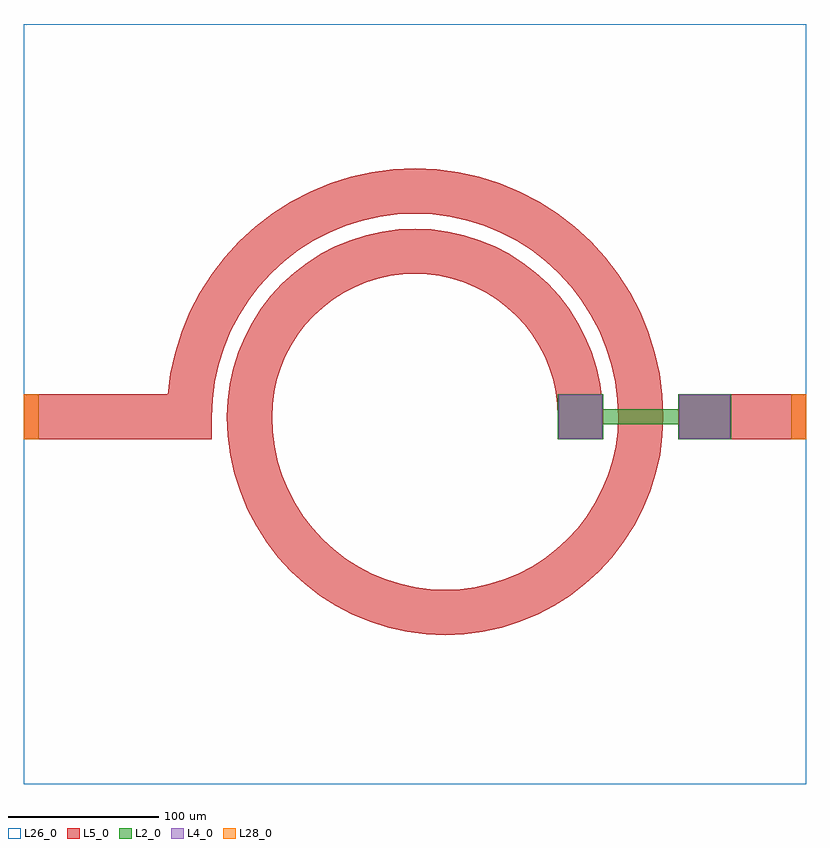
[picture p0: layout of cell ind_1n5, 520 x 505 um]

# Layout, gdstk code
import gdstk
lib = gdstk.Library(unit=1e-6, precision=5e-10)
def R(c, l, rs):  # rectangles x0, y0, x1, y1
    for r in rs: c.add(gdstk.rectangle(r[:2], r[2:], *l))
def P(c, l, *ps):  # polygons
    for p in ps: c.add(gdstk.Polygon(p, *l))
L2_0 = (2, 0)
L4_0 = (4, 0)
L5_0 = (5, 0)
L26_0 = (26, 0)
L28_0 = (28, 0)

ind_1n5 = lib.new_cell('ind_1n5')
R(ind_1n5, L2_0, [(260,-15,290,15), (340,-15,375,15), (260,-5,375,5)])
R(ind_1n5, L4_0, [(260.5,-14.5,289.5,14.5), (340.5,-14.5,374.5,14.5)])
R(ind_1n5, L5_0, [(-95,-15,-80,15), (-95,-15,30,15), (260,-15,290,15), (340,-15,425,15), (410,-15,425,15)])
P(ind_1n5, L5_0, [(300,0),(330,0),(329.448,-12.6375),(327.797,-25.179),(325.059,-37.529),(321.2555,-49.593),(316.4145,-61.2795),(310.5735,-72.5),(303.777,-83.1685),(296.0765,-93.204),(287.5305,-102.5305),(278.204,-111.0765),(268.1685,-118.777),(257.5,-125.5735),(246.2795,-131.4145),(234.593,-136.2555),(222.529,-140.059),(210.179,-142.797),(197.6375,-144.448),(185,-145),(172.3625,-144.448),(159.821,-142.797),(147.471,-140.059),(135.407,-136.2555),(123.7205,-131.4145),(112.5,-125.5735),(101.8315,-118.777),(91.796,-111.0765),(82.4695,-102.5305),(73.9235,-93.204),(66.223,-83.1685),(59.4265,-72.5),(53.5855,-61.2795),(48.7445,-49.593),(44.941,-37.529),(42.203,-25.179),(40.552,-12.6375),(40,0),(70,0),(70.4375,-10.023),(71.747,-19.9695),(73.9185,-29.764),(76.9355,-39.3325),(80.7745,-48.601),(85.407,-57.5),(90.7975,-65.9615),(96.905,-73.9205),(103.6825,-81.3175),(111.0795,-88.095),(119.0385,-94.2025),(127.5,-99.593),(136.399,-104.2255),(145.6675,-108.0645),(155.236,-111.0815),(165.0305,-113.253),(174.977,-114.5625),(185,-115),(195.023,-114.5625),(204.9695,-113.253),(214.764,-111.0815),(224.3325,-108.0645),(233.601,-104.2255),(242.5,-99.593),(250.9615,-94.2025),(258.9205,-88.095),(266.3175,-81.3175),(273.095,-73.9205),(279.2025,-65.9615),(284.593,-57.5),(289.2255,-48.601),(293.0645,-39.3325),(296.0815,-29.764),(298.253,-19.9695),(299.5625,-10.023)],
  [(300,0),(330,0),(329.372,14.3805),(327.4935,28.652),(324.378,42.705),(320.0495,56.4335),(314.541,69.732),(307.894,82.5),(300.16,94.64),(291.3975,106.06),(281.6725,116.6725),(271.06,126.3975),(259.64,135.16),(247.5,142.894),(234.732,149.541),(221.4335,155.0495),(207.705,159.378),(193.652,162.4935),(179.3805,164.372),(165,165),(150.6195,164.372),(136.348,162.4935),(122.295,159.378),(108.5665,155.0495),(95.268,149.541),(82.5,142.894),(70.36,135.16),(58.94,126.3975),(48.3275,116.6725),(38.6025,106.06),(29.84,94.64),(22.106,82.5),(15.459,69.732),(9.9505,56.4335),(5.622,42.705),(2.5065,28.652),(0.628,14.3805),(0,0),(30,0),(30.5135,11.766),(32.051,23.4425),(34.6,34.9405),(38.1415,46.1725),(42.6485,57.0535),(48.0865,67.5),(54.4145,77.433),(61.584,86.7765),(69.5405,95.4595),(78.2235,103.416),(87.567,110.5855),(97.5,116.9135),(107.9465,122.3515),(118.8275,126.8585),(130.0595,130.4),(141.5575,132.949),(153.234,134.4865),(165,135),(176.766,134.4865),(188.4425,132.949),(199.9405,130.4),(211.1725,126.8585),(222.0535,122.3515),(232.5,116.9135),(242.433,110.5855),(251.7765,103.416),(260.4595,95.4595),(268.416,86.7765),(275.5855,77.433),(281.9135,67.5),(287.3515,57.0535),(291.8585,46.1725),(295.4,34.9405),(297.949,23.4425),(299.4865,11.766)],
  [(260,0),(290,0),(289.5245,10.8945),(288.101,21.706),(285.7405,32.3525),(282.4615,42.7525),(278.2885,52.8275),(273.253,62.5),(267.394,71.697),(260.7555,80.3485),(253.3885,88.3885),(245.3485,95.7555),(236.697,102.394),(227.5,108.253),(217.8275,113.2885),(207.7525,117.4615),(197.3525,120.7405),(186.706,123.101),(175.8945,124.5245),(165,125),(154.1055,124.5245),(143.294,123.101),(132.6475,120.7405),(122.2475,117.4615),(112.1725,113.2885),(102.5,108.253),(93.303,102.394),(84.6515,95.7555),(76.6115,88.3885),(69.2445,80.3485),(62.606,71.697),(56.747,62.5),(51.7115,52.8275),(47.5385,42.7525),(44.2595,32.3525),(41.899,21.706),(40.4755,10.8945),(40,0),(70,0),(70.3615,8.28),(71.4435,16.4965),(73.237,24.588),(75.729,32.492),(78.901,40.1485),(82.7275,47.5),(87.1805,54.49),(92.226,61.065),(97.825,67.175),(103.935,72.774),(110.51,77.8195),(117.5,82.2725),(124.8515,86.099),(132.508,89.271),(140.412,91.763),(148.5035,93.5565),(156.72,94.6385),(165,95),(173.28,94.6385),(181.4965,93.5565),(189.588,91.763),(197.492,89.271),(205.1485,86.099),(212.5,82.2725),(219.49,77.8195),(226.065,72.774),(232.175,67.175),(237.774,61.065),(242.8195,54.49),(247.2725,47.5),(251.099,40.1485),(254.271,32.492),(256.763,24.588),(258.5565,16.4965),(259.6385,8.28)])
R(ind_1n5, L26_0, [(-95,-244,425,261)])
R(ind_1n5, L28_0, [(-95,-15,-85,15), (415,-15,425,15)])

lib.write_gds('ind_1n5.gds')
